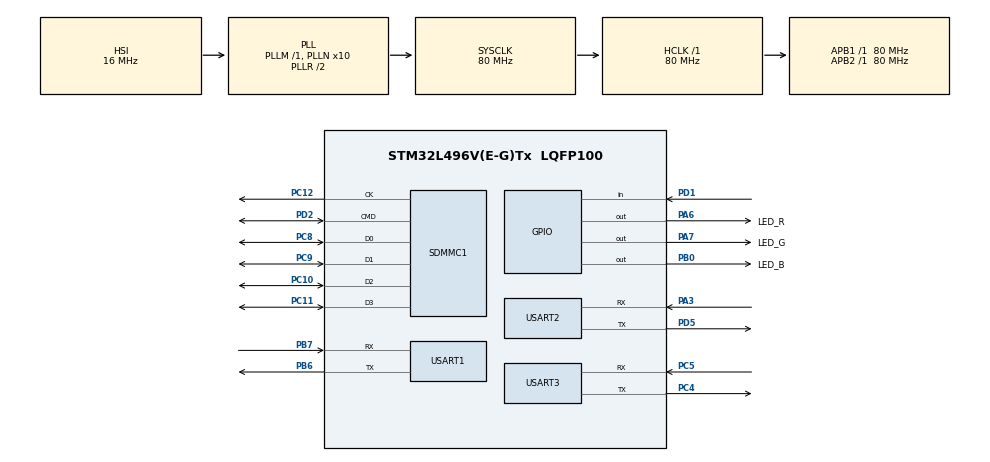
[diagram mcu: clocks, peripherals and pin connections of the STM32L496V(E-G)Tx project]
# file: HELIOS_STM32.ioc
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Dma.Request0=SDMMC1
Dma.SDMMC1.0.Direction=DMA_PERIPH_TO_MEMORY
Dma.SDMMC1.0.Instance=DMA2_Channel4
Dma.SDMMC1.0.MemDataAlignment=DMA_MDATAALIGN_WORD
Dma.SDMMC1.0.MemInc=DMA_MINC_ENABLE
Dma.SDMMC1.0.Mode=DMA_NORMAL
Dma.SDMMC1.0.PeriphDataAlignment=DMA_PDATAALIGN_WORD
Dma.SDMMC1.0.PeriphInc=DMA_PINC_DISABLE
Dma.SDMMC1.0.Priority=DMA_PRIORITY_LOW
FATFS.BSP.number=1
FATFS0.BSP.STBoard=false
FATFS0.BSP.api=Unknown
FATFS0.BSP.instance=PD1
FATFS0.BSP.ip=GPIO
FATFS0.BSP.mode=Input
FATFS0.BSP.name=Detect_SDIO
FATFS0.BSP.solution=PD1
FREERTOS.Tasks01=startTask,0,1000,StartDefaultTask,Default,NULL,Dynamic,NULL,NULL
FREERTOS.configTOTAL_HEAP_SIZE=30000
FREERTOS.configUSE_NEWLIB_REENTRANT=1
Mcu.Family=STM32L4
Mcu.Name=STM32L496V(E-G)Tx
Mcu.Package=LQFP100
NVIC.DMA2_Channel4_IRQn=true\:5\:0\:false\:false\:true\:true\:false\:true\:true
NVIC.PriorityGroup=NVIC_PRIORITYGROUP_4
NVIC.SDMMC1_IRQn=true\:5\:0\:false\:false\:true\:true\:true\:true\:true
NVIC.TIM1_UP_TIM16_IRQn=true\:15\:0\:false\:false\:true\:false\:false\:true\:true
NVIC.TimeBase=TIM1_UP_TIM16_IRQn
NVIC.TimeBaseIP=TIM1
NVIC.USART1_IRQn=true\:5\:0\:false\:false\:true\:true\:true\:true\:true
NVIC.USART2_IRQn=true\:5\:0\:false\:false\:true\:true\:true\:true\:true
NVIC.USART3_IRQn=true\:5\:0\:false\:false\:true\:true\:true\:true\:true
PA13\ (JTMS/SWDIO).Mode=Trace_Asynchronous_SW
PA13\ (JTMS/SWDIO).Signal=SYS_JTMS-SWDIO
PA14\ (JTCK/SWCLK).Mode=Trace_Asynchronous_SW
PA14\ (JTCK/SWCLK).Signal=SYS_JTCK-SWCLK
PA3.Mode=Asynchronous
PA3.Signal=USART2_RX
PA6.GPIO_Label=LED_R
PA6.Signal=GPIO_Output
PA7.GPIO_Label=LED_G
PA7.Signal=GPIO_Output
PB0.GPIO_Label=LED_B
PB0.Signal=GPIO_Output
PB3\ (JTDO/TRACESWO).Mode=Trace_Asynchronous_SW
PB3\ (JTDO/TRACESWO).Signal=SYS_JTDO-SWO
PB6.Mode=Asynchronous
PB6.Signal=USART1_TX
PB7.Mode=Asynchronous
PB7.Signal=USART1_RX
PC10.Mode=SD_4_bits_Wide_bus
PC10.Signal=SDMMC1_D2
PC11.Mode=SD_4_bits_Wide_bus
PC11.Signal=SDMMC1_D3
PC12.Mode=SD_4_bits_Wide_bus
PC12.Signal=SDMMC1_CK
PC4.Mode=Asynchronous
PC4.Signal=USART3_TX
PC5.Mode=Asynchronous
PC5.Signal=USART3_RX
PC8.Mode=SD_4_bits_Wide_bus
PC8.Signal=SDMMC1_D0
PC9.Mode=SD_4_bits_Wide_bus
PC9.Signal=SDMMC1_D1
PD1.Signal=GPIO_Input
PD2.Mode=SD_4_bits_Wide_bus
PD2.Signal=SDMMC1_CMD
PD5.Mode=Asynchronous
PD5.Signal=USART2_TX
ProjectManager.HeapSize=0x400
ProjectManager.StackSize=0x800
ProjectManager.TargetToolchain=STM32CubeIDE
RCC.ADCFreq_Value=64000000
RCC.AHBFreq_Value=80000000
RCC.APB1Freq_Value=80000000
RCC.APB1TimFreq_Value=80000000
RCC.APB2Freq_Value=80000000
RCC.APB2TimFreq_Value=80000000
RCC.CK48CLockSelection=RCC_USBCLKSOURCE_HSI48
RCC.CortexFreq_Value=80000000
RCC.HCLKFreq_Value=80000000
RCC.HSE_VALUE=8000000
RCC.HSI48_VALUE=48000000
RCC.HSI_VALUE=16000000
RCC.LSE_VALUE=32768
RCC.MSI_VALUE=4000000
RCC.PLLN=10
RCC.PLLSAI1Q=RCC_PLLQ_DIV4
RCC.PLLSourceVirtual=RCC_PLLSOURCE_HSI
RCC.SYSCLKFreq_VALUE=80000000
RCC.SYSCLKSource=RCC_SYSCLKSOURCE_PLLCLK
RCC.USBFreq_Value=48000000
RCC.VCOOutputFreq_Value=160000000
SDMMC1.ClockDiv=2
USART1.VirtualMode-Asynchronous=VM_ASYNC
USART2.VirtualMode-Asynchronous=VM_ASYNC
USART3.VirtualMode-Asynchronous=VM_ASYNC
VP_FATFS_VS_SDIO.Mode=SDIO
VP_FREERTOS_VS_CMSIS_V1.Mode=CMSIS_V1
VP_SYS_VS_tim1.Mode=TIM1
board=custom

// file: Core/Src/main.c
/* USER CODE BEGIN Header */
/**
  ******************************************************************************
  * @file           : main.c
  * @brief          : Main program body
  ******************************************************************************
  * @attention
  *
  * Copyright (c) 2022 STMicroelectronics.
  * All rights reserved.
  *
  * This software is licensed under terms that can be found in the LICENSE file
  * in the root directory of this software component.
  * If no LICENSE file comes with this software, it is provided AS-IS.
  *
  ******************************************************************************
  */
/* USER CODE END Header */
#include "main.h"
#include "cmsis_os.h"
#include "dma.h"
#include "fatfs.h"
#include "sdmmc.h"
#include "usart.h"
#include "gpio.h"

/* USER CODE BEGIN Includes */
#include "SEGGER_SYSVIEW.h"
/* USER CODE END Includes */

void SystemClock_Config(void);
void MX_FREERTOS_Init(void);

int main(void)
{

  /* MCU Configuration--------------------------------------------------------*/

  /* Reset of all peripherals, Initializes the Flash interface and the Systick. */
  HAL_Init();

  /* Configure the system clock */
  SystemClock_Config();

  /* USER CODE BEGIN SysInit */
  SEGGER_SYSVIEW_Conf();
  /* USER CODE END SysInit */

  /* Initialize all configured peripherals */
  MX_GPIO_Init();
  MX_DMA_Init();
  MX_SDMMC1_SD_Init();
  MX_USART1_UART_Init();
  MX_USART2_UART_Init();
  MX_USART3_UART_Init();
  MX_FATFS_Init();

  /* Call init function for freertos objects (in freertos.c) */
  MX_FREERTOS_Init();

  /* Start scheduler */
  osKernelStart();

  /* We should never get here as control is now taken by the scheduler */
  /* Infinite loop */
  while (1)
  {

  }
}

void SystemClock_Config(void)
{
  RCC_OscInitTypeDef RCC_OscInitStruct = {0};
  RCC_ClkInitTypeDef RCC_ClkInitStruct = {0};

  /** Configure the main internal regulator output voltage
  */
  if (HAL_PWREx_ControlVoltageScaling(PWR_REGULATOR_VOLTAGE_SCALE1) != HAL_OK)
  {
    Error_Handler();
  }

  /** Initializes the RCC Oscillators according to the specified parameters
  * in the RCC_OscInitTypeDef structure.
  */
  RCC_OscInitStruct.OscillatorType = RCC_OSCILLATORTYPE_HSI48|RCC_OSCILLATORTYPE_HSI;
  RCC_OscInitStruct.HSIState = RCC_HSI_ON;
  RCC_OscInitStruct.HSI48State = RCC_HSI48_ON;
  RCC_OscInitStruct.HSICalibrationValue = RCC_HSICALIBRATION_DEFAULT;
  RCC_OscInitStruct.PLL.PLLState = RCC_PLL_ON;
  RCC_OscInitStruct.PLL.PLLSource = RCC_PLLSOURCE_HSI;
  RCC_OscInitStruct.PLL.PLLM = 1;
  RCC_OscInitStruct.PLL.PLLN = 10;
  RCC_OscInitStruct.PLL.PLLP = RCC_PLLP_DIV2;
  RCC_OscInitStruct.PLL.PLLQ = RCC_PLLQ_DIV2;
  RCC_OscInitStruct.PLL.PLLR = RCC_PLLR_DIV2;
  if (HAL_RCC_OscConfig(&RCC_OscInitStruct) != HAL_OK)
  {
    Error_Handler();
  }

  /** Initializes the CPU, AHB and APB buses clocks
  */
  RCC_ClkInitStruct.ClockType = RCC_CLOCKTYPE_HCLK|RCC_CLOCKTYPE_SYSCLK
                              |RCC_CLOCKTYPE_PCLK1|RCC_CLOCKTYPE_PCLK2;
  RCC_ClkInitStruct.SYSCLKSource = RCC_SYSCLKSOURCE_PLLCLK;
  RCC_ClkInitStruct.AHBCLKDivider = RCC_SYSCLK_DIV1;
  RCC_ClkInitStruct.APB1CLKDivider = RCC_HCLK_DIV1;
  RCC_ClkInitStruct.APB2CLKDivider = RCC_HCLK_DIV1;

  if (HAL_RCC_ClockConfig(&RCC_ClkInitStruct, FLASH_LATENCY_4) != HAL_OK)
  {
    Error_Handler();
  }
}

void HAL_TIM_PeriodElapsedCallback(TIM_HandleTypeDef *htim)
{
  if (htim->Instance == TIM1) {
    HAL_IncTick();
  }
}

void Error_Handler(void)
{
  __disable_irq();
  while (1)
  {
  }
}

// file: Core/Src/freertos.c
/* USER CODE BEGIN Header */
/**
  ******************************************************************************
  * File Name          : freertos.c
  * Description        : Code for freertos applications
  ******************************************************************************
  * @attention
  *
  * Copyright (c) 2022 STMicroelectronics.
  * All rights reserved.
  *
  * This software is licensed under terms that can be found in the LICENSE file
  * in the root directory of this software component.
  * If no LICENSE file comes with this software, it is provided AS-IS.
  *
  ******************************************************************************
  */
/* USER CODE END Header */

#include "FreeRTOS.h"
#include "task.h"
#include "main.h"
#include "cmsis_os.h"

/* USER CODE BEGIN Includes */
#include "fatfs.h"
/* USER CODE END Includes */

/* USER CODE BEGIN PD */
#define MAINAPP_STACK_SIZE 512  // Stack size in words
#define SYNCRTC_STACK_SIZE 128  // Stack size in words
/* USER CODE END PD */

osThreadId startTaskHandle;

/* USER CODE BEGIN FunctionPrototypes */

// Task handles
TaskHandle_t LedGreenTaskHandle = NULL;
TaskHandle_t LedBlueTaskHandle = NULL;

// Function prototypes for the tasks
void LedBlueTask( void * pvParameters );
void LedGreenTask( void * pvParameters );

/* USER CODE END FunctionPrototypes */

void StartDefaultTask(void const * argument);

void MX_FREERTOS_Init(void); /* (MISRA C 2004 rule 8.1) */

/* GetIdleTaskMemory prototype (linked to static allocation support) */
void vApplicationGetIdleTaskMemory( StaticTask_t **ppxIdleTaskTCBBuffer, StackType_t **ppxIdleTaskStackBuffer, uint32_t *pulIdleTaskStackSize );

/* USER CODE BEGIN GET_IDLE_TASK_MEMORY */
static StaticTask_t xIdleTaskTCBBuffer;
static StackType_t xIdleStack[configMINIMAL_STACK_SIZE];

void vApplicationGetIdleTaskMemory( StaticTask_t **ppxIdleTaskTCBBuffer, StackType_t **ppxIdleTaskStackBuffer, uint32_t *pulIdleTaskStackSize )
{
  *ppxIdleTaskTCBBuffer = &xIdleTaskTCBBuffer;
  *ppxIdleTaskStackBuffer = &xIdleStack[0];
  *pulIdleTaskStackSize = configMINIMAL_STACK_SIZE;
  /* place for user code */
}
/* USER CODE END GET_IDLE_TASK_MEMORY */

void MX_FREERTOS_Init(void) {

  /* Create the thread(s) */
  /* definition and creation of startTask */
  osThreadDef(startTask, StartDefaultTask, osPriorityNormal, 0, 1000);
  startTaskHandle = osThreadCreate(osThread(startTask), NULL);

  /* USER CODE BEGIN RTOS_THREADS */
  // Create main app task

  /* USER CODE END RTOS_THREADS */

}

/* USER CODE BEGIN Header_StartDefaultTask */
/**
  * @brief  Function implementing the startTask thread.
  * @param  argument: Not used
  * @retval None
  */

uint8_t SD_FileOperationsTest();

/* USER CODE END Header_StartDefaultTask */
void StartDefaultTask(void const * argument)
{
  /* USER CODE BEGIN StartDefaultTask */
	//static int cnt = 0;
  volatile uint8_t result = 10;

  result = SD_FileOperationsTest();

  if(result == FR_OK){

	  BaseType_t ret;
	  ret = xTaskCreate( LedBlueTask, "Led Blue task", MAINAPP_STACK_SIZE, NULL, 1, &LedBlueTaskHandle );
	  if ( ret != pdPASS ) for ( ;; ) {
	  }

	  // Create RTC synchronization task
	  ret = xTaskCreate( LedGreenTask, "Led Green task", SYNCRTC_STACK_SIZE, NULL, 1, &LedGreenTaskHandle );
	  if ( ret != pdPASS ) for ( ;; ) {
	  }

	  vTaskDelete( NULL );
  }

  /* Infinite loop */
  for(;;)
  {
    HAL_GPIO_TogglePin(LED_R_GPIO_Port,LED_R_Pin);
    osDelay(200);
  }
  /* USER CODE END StartDefaultTask */
}

/* USER CODE BEGIN Application */

/**
 *  AW
  * @brief  Initializes SD Card and keeps it linked
  * 		SD Card is not UNLINKED from now on!
  * @param  None
  * @retval 0 == all fine
  * 		1+ == errors
  */

uint8_t SD_FileOperationsTest()
{
  FRESULT res;
  uint32_t byteswritten, bytesread;                     // File write/read counts
  uint8_t wtext[] = "STM32L496 AW: This is AW working with FatFs uSD + DMA + FreeRTOS + USB"; // File write buffer
  uint8_t rtext[100];                                   // File read buffer
  char fileNameIntern[40] = "STM32_AW_extendendFilename.TXT";

  // Register the file system object to the FatFs module /
  if(f_mount(&SDFatFS, (TCHAR const*)SDPath, 0) == FR_OK)
  {
    // Create and Open a new text file object with write access
    //if(f_open(&SDFile, "STM32_AW.TXT", FA_CREATE_ALWAYS | FA_WRITE) == FR_OK)
    if(f_open(&SDFile, fileNameIntern, FA_CREATE_ALWAYS | FA_WRITE) == FR_OK)
    {
      // Write data to the text file
      res = f_write(&SDFile, wtext, sizeof(wtext), (void *)&byteswritten);

      if((byteswritten > 0) && (res == FR_OK))
      {
        // Close the open text file
        f_close(&SDFile);

        // Open the text file object with read access
        if(f_open(&SDFile, fileNameIntern, FA_READ) == FR_OK)
        {
          // Read data from the text file
          res = f_read(&SDFile, rtext, sizeof(rtext), (void *)&bytesread);

          if((bytesread > 0) && (res == FR_OK))
          {
            // Close the open text file
           res = f_close(&SDFile);
           if(res == FR_OK)
        	 // res = f_unlink( fileNameIntern);	// deleting File

            // Compare read data with the expected data
            if((bytesread == byteswritten)  && (res == FR_OK) )
            {
              // Success of the demo: no error occurrence
              return FR_OK;
            }
          }
        }
      }
    }
  }
  // Error
  // FATFS_UnLinkDriver(USERPath);
  return res;
}

/* ====================================================================
 * @brief  Main application task
 * @param  *pvParameters: Task parameters (unused)
 * @retval None
 * ==================================================================== */
void LedBlueTask( void * pvParameters )
{

  // Main event loop
  for ( ;; ) {
	  HAL_GPIO_TogglePin(LED_B_GPIO_Port,LED_B_Pin);

	  osDelay(3);
  }

  // Delete task
  vTaskDelete( NULL );

}

/* ====================================================================
 * @brief  Main application task
 * @param  *pvParameters: Task parameters (unused)
 * @retval None
 * ==================================================================== */
void LedGreenTask( void * pvParameters )
{

  // Main event loop
  for ( ;; ) {

	  HAL_GPIO_TogglePin(LED_G_GPIO_Port,LED_G_Pin);
	  osDelay(1);
  }

  // Delete task
  vTaskDelete( NULL );

}
/* USER CODE END Application */
